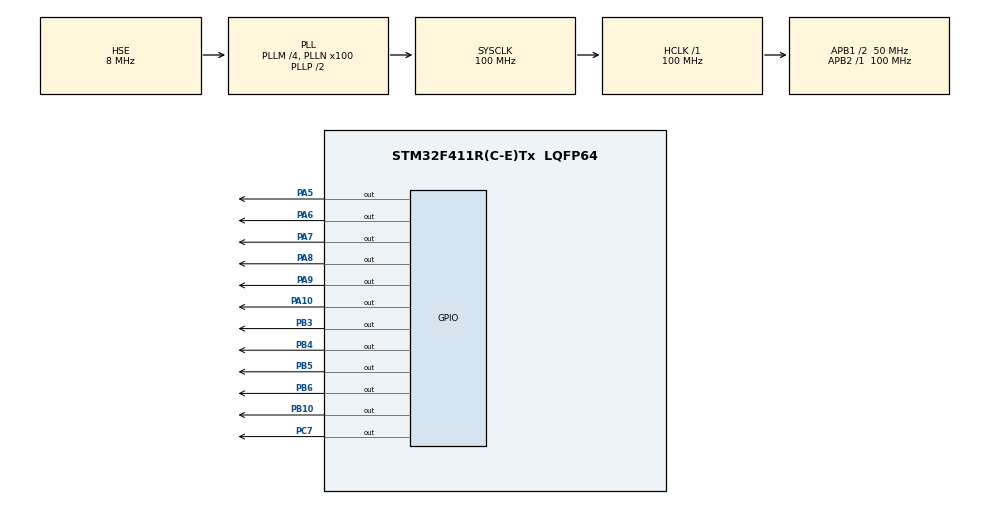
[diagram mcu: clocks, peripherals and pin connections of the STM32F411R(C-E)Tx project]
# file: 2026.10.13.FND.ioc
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Mcu.Family=STM32F4
Mcu.Name=STM32F411R(C-E)Tx
Mcu.Package=LQFP64
NVIC.PriorityGroup=NVIC_PRIORITYGROUP_4
PA10.Signal=GPIO_Output
PA5.Signal=GPIO_Output
PA6.Signal=GPIO_Output
PA7.Signal=GPIO_Output
PA8.Signal=GPIO_Output
PA9.Signal=GPIO_Output
PB10.Signal=GPIO_Output
PB3.Signal=GPIO_Output
PB4.Signal=GPIO_Output
PB5.Signal=GPIO_Output
PB6.Signal=GPIO_Output
PC7.Signal=GPIO_Output
PH0\ -\ OSC_IN.Mode=HSE-External-Oscillator
PH0\ -\ OSC_IN.Signal=RCC_OSC_IN
PH1\ -\ OSC_OUT.Mode=HSE-External-Oscillator
PH1\ -\ OSC_OUT.Signal=RCC_OSC_OUT
ProjectManager.HeapSize=0x200
ProjectManager.StackSize=0x400
ProjectManager.TargetToolchain=STM32CubeIDE
RCC.48MHZClocksFreq_Value=50000000
RCC.AHBFreq_Value=100000000
RCC.APB1CLKDivider=RCC_HCLK_DIV2
RCC.APB1Freq_Value=50000000
RCC.APB1TimFreq_Value=100000000
RCC.APB2Freq_Value=100000000
RCC.APB2TimFreq_Value=100000000
RCC.CortexFreq_Value=100000000
RCC.HCLKFreq_Value=100000000
RCC.HSE_VALUE=8000000
RCC.HSI_VALUE=16000000
RCC.LSE_VALUE=32768
RCC.PLLM=8
RCC.PLLN=100
RCC.SYSCLKFreq_VALUE=100000000
RCC.SYSCLKSource=RCC_SYSCLKSOURCE_PLLCLK
RCC.VCOOutputFreq_Value=200000000
board=custom

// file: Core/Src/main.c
/* USER CODE BEGIN Header */
/**
  ******************************************************************************
  * @file           : main.c
  * @brief          : Main program body
  ******************************************************************************
  * @attention
  *
  * Copyright (c) 2026 STMicroelectronics.
  * All rights reserved.
  *
  * This software is licensed under terms that can be found in the LICENSE file
  * in the root directory of this software component.
  * If no LICENSE file comes with this software, it is provided AS-IS.
  *
  ******************************************************************************
  */
/* USER CODE END Header */
#include "main.h"

void SystemClock_Config(void);
static void MX_GPIO_Init(void);

int main(void)
{

  /* MCU Configuration--------------------------------------------------------*/

  /* Reset of all peripherals, Initializes the Flash interface and the Systick. */
  HAL_Init();

  /* Configure the system clock */
  SystemClock_Config();

  /* Initialize all configured peripherals */
  MX_GPIO_Init();
  /* USER CODE BEGIN 2 */
void fnd_number(int number)
{
   switch(number)
   {
   case 1:
     HAL_GPIO_WritePin(GPIOA, GPIO_PIN_6, GPIO_PIN_RESET);  //A
     HAL_GPIO_WritePin(GPIOA, GPIO_PIN_9, GPIO_PIN_SET);//B
     HAL_GPIO_WritePin(GPIOB, GPIO_PIN_5, GPIO_PIN_SET);//C
     HAL_GPIO_WritePin(GPIOB, GPIO_PIN_10, GPIO_PIN_RESET);//D
     HAL_GPIO_WritePin(GPIOA, GPIO_PIN_8, GPIO_PIN_RESET);//E
     HAL_GPIO_WritePin(GPIOA, GPIO_PIN_7, GPIO_PIN_RESET);//F
     HAL_GPIO_WritePin(GPIOB, GPIO_PIN_3, GPIO_PIN_RESET);//G
     HAL_GPIO_WritePin(GPIOB, GPIO_PIN_4, GPIO_PIN_RESET);//DP
     break;
   case 2:
     HAL_GPIO_WritePin(GPIOA, GPIO_PIN_6, GPIO_PIN_SET);  //A
     HAL_GPIO_WritePin(GPIOA, GPIO_PIN_9, GPIO_PIN_SET);//B
     HAL_GPIO_WritePin(GPIOB, GPIO_PIN_5, GPIO_PIN_RESET);//C
     HAL_GPIO_WritePin(GPIOB, GPIO_PIN_10, GPIO_PIN_SET);//D
     HAL_GPIO_WritePin(GPIOA, GPIO_PIN_8, GPIO_PIN_SET);//E
     HAL_GPIO_WritePin(GPIOA, GPIO_PIN_7, GPIO_PIN_RESET);//F
     HAL_GPIO_WritePin(GPIOB, GPIO_PIN_3, GPIO_PIN_SET);//G
     HAL_GPIO_WritePin(GPIOB, GPIO_PIN_4, GPIO_PIN_RESET);//DP
     break;
   case 3:
     HAL_GPIO_WritePin(GPIOA, GPIO_PIN_6, GPIO_PIN_SET);  //A
     HAL_GPIO_WritePin(GPIOA, GPIO_PIN_9, GPIO_PIN_SET);//B
     HAL_GPIO_WritePin(GPIOB, GPIO_PIN_5, GPIO_PIN_SET);//C
     HAL_GPIO_WritePin(GPIOB, GPIO_PIN_10, GPIO_PIN_SET);//D
     HAL_GPIO_WritePin(GPIOA, GPIO_PIN_8, GPIO_PIN_RESET);//E
     HAL_GPIO_WritePin(GPIOA, GPIO_PIN_7, GPIO_PIN_RESET);//F
     HAL_GPIO_WritePin(GPIOB, GPIO_PIN_3, GPIO_PIN_SET);//G
     HAL_GPIO_WritePin(GPIOB, GPIO_PIN_4, GPIO_PIN_RESET);//DP
     break;
   case 4:
     HAL_GPIO_WritePin(GPIOA, GPIO_PIN_6, GPIO_PIN_RESET);  //A
     HAL_GPIO_WritePin(GPIOA, GPIO_PIN_9, GPIO_PIN_SET);//B
     HAL_GPIO_WritePin(GPIOB, GPIO_PIN_5, GPIO_PIN_SET);//C
     HAL_GPIO_WritePin(GPIOB, GPIO_PIN_10, GPIO_PIN_RESET);//D
     HAL_GPIO_WritePin(GPIOA, GPIO_PIN_8, GPIO_PIN_RESET);//E
     HAL_GPIO_WritePin(GPIOA, GPIO_PIN_7, GPIO_PIN_SET);//F
     HAL_GPIO_WritePin(GPIOB, GPIO_PIN_3, GPIO_PIN_SET);//G
     HAL_GPIO_WritePin(GPIOB, GPIO_PIN_4, GPIO_PIN_RESET);//DP
     break;
   case 5:
     HAL_GPIO_WritePin(GPIOA, GPIO_PIN_6, GPIO_PIN_SET);  //A
     HAL_GPIO_WritePin(GPIOA, GPIO_PIN_9, GPIO_PIN_RESET);//B
     HAL_GPIO_WritePin(GPIOB, GPIO_PIN_5, GPIO_PIN_SET);//C
     HAL_GPIO_WritePin(GPIOB, GPIO_PIN_10, GPIO_PIN_SET);//D
     HAL_GPIO_WritePin(GPIOA, GPIO_PIN_8, GPIO_PIN_RESET);//E
     HAL_GPIO_WritePin(GPIOA, GPIO_PIN_7, GPIO_PIN_SET);//F
     HAL_GPIO_WritePin(GPIOB, GPIO_PIN_3, GPIO_PIN_SET);//G
     HAL_GPIO_WritePin(GPIOB, GPIO_PIN_4, GPIO_PIN_RESET);//DP
     break;
   case 6:
     HAL_GPIO_WritePin(GPIOA, GPIO_PIN_6, GPIO_PIN_SET);  //A
     HAL_GPIO_WritePin(GPIOA, GPIO_PIN_9, GPIO_PIN_RESET);//B
     HAL_GPIO_WritePin(GPIOB, GPIO_PIN_5, GPIO_PIN_SET);//C
     HAL_GPIO_WritePin(GPIOB, GPIO_PIN_10, GPIO_PIN_SET);//D
     HAL_GPIO_WritePin(GPIOA, GPIO_PIN_8, GPIO_PIN_SET);//E
     HAL_GPIO_WritePin(GPIOA, GPIO_PIN_7, GPIO_PIN_SET);//F
     HAL_GPIO_WritePin(GPIOB, GPIO_PIN_3, GPIO_PIN_SET);//G
     HAL_GPIO_WritePin(GPIOB, GPIO_PIN_4, GPIO_PIN_RESET);//DP
     break;
   case 7:
     HAL_GPIO_WritePin(GPIOA, GPIO_PIN_6, GPIO_PIN_SET);  //A
     HAL_GPIO_WritePin(GPIOA, GPIO_PIN_9, GPIO_PIN_SET);//B
     HAL_GPIO_WritePin(GPIOB, GPIO_PIN_5, GPIO_PIN_SET);//C
     HAL_GPIO_WritePin(GPIOB, GPIO_PIN_10, GPIO_PIN_RESET);//D
     HAL_GPIO_WritePin(GPIOA, GPIO_PIN_8, GPIO_PIN_RESET);//E
     HAL_GPIO_WritePin(GPIOA, GPIO_PIN_7, GPIO_PIN_SET);//F
     HAL_GPIO_WritePin(GPIOB, GPIO_PIN_3, GPIO_PIN_RESET);//G
     HAL_GPIO_WritePin(GPIOB, GPIO_PIN_4, GPIO_PIN_RESET);//DP
     break;
   case 8:
     HAL_GPIO_WritePin(GPIOA, GPIO_PIN_6, GPIO_PIN_SET);  //A
     HAL_GPIO_WritePin(GPIOA, GPIO_PIN_9, GPIO_PIN_SET);//B
     HAL_GPIO_WritePin(GPIOB, GPIO_PIN_5, GPIO_PIN_SET);//C
     HAL_GPIO_WritePin(GPIOB, GPIO_PIN_10, GPIO_PIN_SET);//D
     HAL_GPIO_WritePin(GPIOA, GPIO_PIN_8, GPIO_PIN_SET);//E
     HAL_GPIO_WritePin(GPIOA, GPIO_PIN_7, GPIO_PIN_SET);//F
     HAL_GPIO_WritePin(GPIOB, GPIO_PIN_3, GPIO_PIN_SET);//G
     HAL_GPIO_WritePin(GPIOB, GPIO_PIN_4, GPIO_PIN_RESET);//DP
     break;
   case 9:
     HAL_GPIO_WritePin(GPIOA, GPIO_PIN_6, GPIO_PIN_SET);  //A
     HAL_GPIO_WritePin(GPIOA, GPIO_PIN_9, GPIO_PIN_SET);//B
     HAL_GPIO_WritePin(GPIOB, GPIO_PIN_5, GPIO_PIN_SET);//C
     HAL_GPIO_WritePin(GPIOB, GPIO_PIN_10, GPIO_PIN_SET);//D
     HAL_GPIO_WritePin(GPIOA, GPIO_PIN_8, GPIO_PIN_RESET);//E
     HAL_GPIO_WritePin(GPIOA, GPIO_PIN_7, GPIO_PIN_SET);//F
     HAL_GPIO_WritePin(GPIOB, GPIO_PIN_3, GPIO_PIN_SET);//G
     HAL_GPIO_WritePin(GPIOB, GPIO_PIN_4, GPIO_PIN_RESET);//DP
     break;
   case 0:
     HAL_GPIO_WritePin(GPIOA, GPIO_PIN_6, GPIO_PIN_SET);  //A
     HAL_GPIO_WritePin(GPIOA, GPIO_PIN_9, GPIO_PIN_SET);//B
     HAL_GPIO_WritePin(GPIOB, GPIO_PIN_5, GPIO_PIN_SET);//C
     HAL_GPIO_WritePin(GPIOB, GPIO_PIN_10, GPIO_PIN_SET);//D
     HAL_GPIO_WritePin(GPIOA, GPIO_PIN_8, GPIO_PIN_SET);//E
     HAL_GPIO_WritePin(GPIOA, GPIO_PIN_7, GPIO_PIN_SET);//F
     HAL_GPIO_WritePin(GPIOB, GPIO_PIN_3, GPIO_PIN_RESET);//G
     HAL_GPIO_WritePin(GPIOB, GPIO_PIN_4, GPIO_PIN_RESET);//DP
     break;
   }
}
void fnd_digit1(int number){
     HAL_GPIO_WritePin(GPIOA, GPIO_PIN_5, GPIO_PIN_SET);//D1
     HAL_GPIO_WritePin(GPIOB, GPIO_PIN_6, GPIO_PIN_SET);//D2
     HAL_GPIO_WritePin(GPIOC, GPIO_PIN_7, GPIO_PIN_SET);//D3
     HAL_GPIO_WritePin(GPIOA, GPIO_PIN_10, GPIO_PIN_SET);//D4
     fnd_number(number);
       HAL_GPIO_WritePin(GPIOA, GPIO_PIN_5, GPIO_PIN_SET);//D1
       HAL_GPIO_WritePin(GPIOB, GPIO_PIN_6, GPIO_PIN_SET);//D2
       HAL_GPIO_WritePin(GPIOC, GPIO_PIN_7, GPIO_PIN_SET);//D3
       HAL_GPIO_WritePin(GPIOA, GPIO_PIN_10, GPIO_PIN_RESET);//D4
}
void fnd_digit10(int number){
     HAL_GPIO_WritePin(GPIOA, GPIO_PIN_5, GPIO_PIN_SET);//D1
     HAL_GPIO_WritePin(GPIOB, GPIO_PIN_6, GPIO_PIN_SET);//D2
     HAL_GPIO_WritePin(GPIOC, GPIO_PIN_7, GPIO_PIN_SET);//D3
     HAL_GPIO_WritePin(GPIOA, GPIO_PIN_10, GPIO_PIN_SET);//D4
     fnd_number(number);
       HAL_GPIO_WritePin(GPIOA, GPIO_PIN_5, GPIO_PIN_SET);//D1
       HAL_GPIO_WritePin(GPIOB, GPIO_PIN_6, GPIO_PIN_SET);//D2
       HAL_GPIO_WritePin(GPIOC, GPIO_PIN_7, GPIO_PIN_RESET);//D3
       HAL_GPIO_WritePin(GPIOA, GPIO_PIN_10, GPIO_PIN_SET);//D4
}
void fnd_digit100(int number){
     HAL_GPIO_WritePin(GPIOA, GPIO_PIN_5, GPIO_PIN_SET);//D1
     HAL_GPIO_WritePin(GPIOB, GPIO_PIN_6, GPIO_PIN_SET);//D2
     HAL_GPIO_WritePin(GPIOC, GPIO_PIN_7, GPIO_PIN_SET);//D3
     HAL_GPIO_WritePin(GPIOA, GPIO_PIN_10, GPIO_PIN_SET);//D4
     fnd_number(number);
       HAL_GPIO_WritePin(GPIOA, GPIO_PIN_5, GPIO_PIN_SET);//D1
       HAL_GPIO_WritePin(GPIOB, GPIO_PIN_6, GPIO_PIN_RESET);//D2
       HAL_GPIO_WritePin(GPIOC, GPIO_PIN_7, GPIO_PIN_SET);//D3
       HAL_GPIO_WritePin(GPIOA, GPIO_PIN_10, GPIO_PIN_SET);//D4
}
void fnd_digit1000(int number){
     HAL_GPIO_WritePin(GPIOA, GPIO_PIN_5, GPIO_PIN_SET);//D1
     HAL_GPIO_WritePin(GPIOB, GPIO_PIN_6, GPIO_PIN_SET);//D2
     HAL_GPIO_WritePin(GPIOC, GPIO_PIN_7, GPIO_PIN_SET);//D3
     HAL_GPIO_WritePin(GPIOA, GPIO_PIN_10, GPIO_PIN_SET);//D4
     fnd_number(number);
       HAL_GPIO_WritePin(GPIOA, GPIO_PIN_5, GPIO_PIN_RESET);//D1
       HAL_GPIO_WritePin(GPIOB, GPIO_PIN_6, GPIO_PIN_SET);//D2
       HAL_GPIO_WritePin(GPIOC, GPIO_PIN_7, GPIO_PIN_SET);//D3
       HAL_GPIO_WritePin(GPIOA, GPIO_PIN_10, GPIO_PIN_SET);//D4
}
  /* USER CODE END 2 */
int number =0;
  /* Infinite loop */
  /* USER CODE BEGIN WHILE */
  while (1)
  {
     while(number<10000)
     {
     fnd_digit1(number%10);
     HAL_Delay(2);
     fnd_digit10(number/10%10);
     HAL_Delay(3);
     fnd_digit100(number/100%10);
     HAL_Delay(2);
     fnd_digit1000(number/1000);
     HAL_Delay(3);
     number++;
     }
     if (number>9999){number=0;}
    /* USER CODE END WHILE */

  }
}

void SystemClock_Config(void)
{
  RCC_OscInitTypeDef RCC_OscInitStruct = {0};
  RCC_ClkInitTypeDef RCC_ClkInitStruct = {0};

  /** Configure the main internal regulator output voltage
  */
  __HAL_RCC_PWR_CLK_ENABLE();
  __HAL_PWR_VOLTAGESCALING_CONFIG(PWR_REGULATOR_VOLTAGE_SCALE1);

  /** Initializes the RCC Oscillators according to the specified parameters
  * in the RCC_OscInitTypeDef structure.
  */
  RCC_OscInitStruct.OscillatorType = RCC_OSCILLATORTYPE_HSE;
  RCC_OscInitStruct.HSEState = RCC_HSE_ON;
  RCC_OscInitStruct.PLL.PLLState = RCC_PLL_ON;
  RCC_OscInitStruct.PLL.PLLSource = RCC_PLLSOURCE_HSE;
  RCC_OscInitStruct.PLL.PLLM = 4;
  RCC_OscInitStruct.PLL.PLLN = 100;
  RCC_OscInitStruct.PLL.PLLP = RCC_PLLP_DIV2;
  RCC_OscInitStruct.PLL.PLLQ = 4;
  if (HAL_RCC_OscConfig(&RCC_OscInitStruct) != HAL_OK)
  {
    Error_Handler();
  }

  /** Initializes the CPU, AHB and APB buses clocks
  */
  RCC_ClkInitStruct.ClockType = RCC_CLOCKTYPE_HCLK|RCC_CLOCKTYPE_SYSCLK
                              |RCC_CLOCKTYPE_PCLK1|RCC_CLOCKTYPE_PCLK2;
  RCC_ClkInitStruct.SYSCLKSource = RCC_SYSCLKSOURCE_PLLCLK;
  RCC_ClkInitStruct.AHBCLKDivider = RCC_SYSCLK_DIV1;
  RCC_ClkInitStruct.APB1CLKDivider = RCC_HCLK_DIV2;
  RCC_ClkInitStruct.APB2CLKDivider = RCC_HCLK_DIV1;

  if (HAL_RCC_ClockConfig(&RCC_ClkInitStruct, FLASH_LATENCY_3) != HAL_OK)
  {
    Error_Handler();
  }
}

static void MX_GPIO_Init(void)
{
  GPIO_InitTypeDef GPIO_InitStruct = {0};

  /* GPIO Ports Clock Enable */
  __HAL_RCC_GPIOH_CLK_ENABLE();
  __HAL_RCC_GPIOA_CLK_ENABLE();
  __HAL_RCC_GPIOB_CLK_ENABLE();
  __HAL_RCC_GPIOC_CLK_ENABLE();

  /*Configure GPIO pin Output Level */
  HAL_GPIO_WritePin(GPIOA, GPIO_PIN_5|GPIO_PIN_6|GPIO_PIN_7|GPIO_PIN_8
                          |GPIO_PIN_9|GPIO_PIN_10, GPIO_PIN_RESET);

  /*Configure GPIO pin Output Level */
  HAL_GPIO_WritePin(GPIOB, GPIO_PIN_10|GPIO_PIN_3|GPIO_PIN_4|GPIO_PIN_5
                          |GPIO_PIN_6, GPIO_PIN_RESET);

  /*Configure GPIO pin Output Level */
  HAL_GPIO_WritePin(GPIOC, GPIO_PIN_7, GPIO_PIN_RESET);

  /*Configure GPIO pins : PA5 PA6 PA7 PA8
                           PA9 PA10 */
  GPIO_InitStruct.Pin = GPIO_PIN_5|GPIO_PIN_6|GPIO_PIN_7|GPIO_PIN_8
                          |GPIO_PIN_9|GPIO_PIN_10;
  GPIO_InitStruct.Mode = GPIO_MODE_OUTPUT_PP;
  GPIO_InitStruct.Pull = GPIO_NOPULL;
  GPIO_InitStruct.Speed = GPIO_SPEED_FREQ_LOW;
  HAL_GPIO_Init(GPIOA, &GPIO_InitStruct);

  /*Configure GPIO pins : PB10 PB3 PB4 PB5
                           PB6 */
  GPIO_InitStruct.Pin = GPIO_PIN_10|GPIO_PIN_3|GPIO_PIN_4|GPIO_PIN_5
                          |GPIO_PIN_6;
  GPIO_InitStruct.Mode = GPIO_MODE_OUTPUT_PP;
  GPIO_InitStruct.Pull = GPIO_NOPULL;
  GPIO_InitStruct.Speed = GPIO_SPEED_FREQ_LOW;
  HAL_GPIO_Init(GPIOB, &GPIO_InitStruct);

  /*Configure GPIO pin : PC7 */
  GPIO_InitStruct.Pin = GPIO_PIN_7;
  GPIO_InitStruct.Mode = GPIO_MODE_OUTPUT_PP;
  GPIO_InitStruct.Pull = GPIO_NOPULL;
  GPIO_InitStruct.Speed = GPIO_SPEED_FREQ_LOW;
  HAL_GPIO_Init(GPIOC, &GPIO_InitStruct);

}

void Error_Handler(void)
{
  __disable_irq();
  while (1)
  {
  }
}
